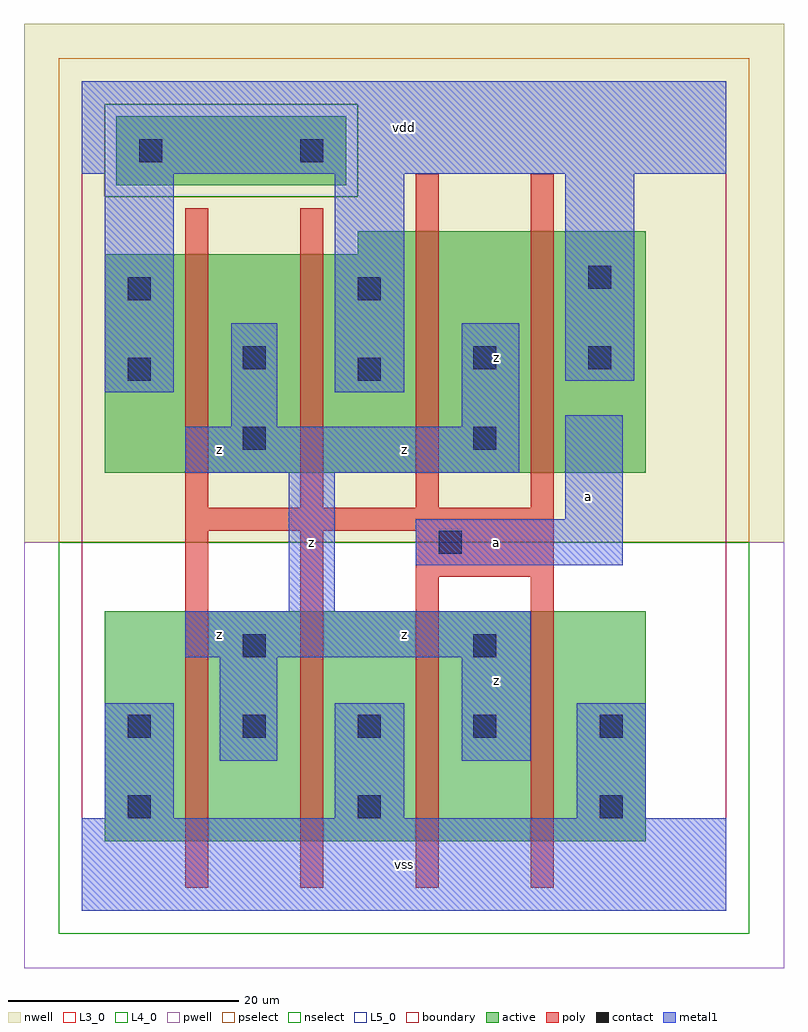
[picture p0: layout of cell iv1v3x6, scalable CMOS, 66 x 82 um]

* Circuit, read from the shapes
.subckt iv1v3x6 a vdd vss z
M1 z a vss VSUBS nfet w=20u l=2u m=4
M2 z a vdd vdd pfet w=19u l=2u m=2
M3 z a vdd vdd pfet w=21u l=2u m=2
.ends

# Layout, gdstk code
import gdstk
lib = gdstk.Library(unit=1e-6, precision=1e-09)
def R(c, l, rs):  # rectangles x0, y0, x1, y1
    for r in rs: c.add(gdstk.rectangle(r[:2], r[2:], *l))
def A(c, l, x, y, w, h, nx, ny, dx, dy):  # array of equal rectangles
    R(c, l, [(x+i*dx, y+j*dy, x+i*dx+w, y+j*dy+h) for i in range(nx) for j in range(ny)])
L3_0 = (3, 0)
L4_0 = (4, 0)
L5_0 = (5, 0)
contact = (25, 0)
pwell = (41, 0)
nwell = (42, 0)
active = (43, 0)
pselect = (44, 0)
nselect = (45, 0)
poly = (46, 0)
metal1 = (49, 0)
boundary = (63, 0)

iv1v3x6 = lib.new_cell('iv1v3x6')
R(iv1v3x6, L3_0, [(2,6,49,26)])
R(iv1v3x6, L4_0, [(2,38,49,57), (24,57,49,59)])
R(iv1v3x6, L5_0, [(3,63,23,69)])
A(iv1v3x6, contact, 4, 15, 2, 2, 4, 1, 10, 0)
R(iv1v3x6, contact, [(4,8,6,10), (24,8,26,10), (45,8,47,10), (45,15,47,17), (14,22,16,24), (34,22,36,24), (31,31,33,33), (14,40,16,42), (34,40,36,42), (4,46,6,48), (24,46,26,48), (14,47,16,49), (34,47,36,49), (44,47,46,49), (4,53,6,55), (24,53,26,55), (44,54,46,56), (5,65,7,67), (19,65,21,67)])
R(iv1v3x6, pwell, [(-5,-5,61,32)])
R(iv1v3x6, nwell, [(-5,32,61,77)])
R(iv1v3x6, active, [(2,6,49,26), (2,38,49,57), (24,57,49,59), (3,63,23,69)])
R(iv1v3x6, pselect, [(-2,32,58,62), (-2,62,2,70), (24,62,58,70), (-2,70,58,74)])
R(iv1v3x6, nselect, [(-2,-2,58,32), (2,62,24,70)])
R(iv1v3x6, poly, [(9,2,11,33), (19,2,21,33), (29,2,31,29), (39,2,41,29), (29,29,41,33), (9,33,41,35), (9,35,11,61), (19,35,21,61), (29,35,31,64), (39,35,41,64)])
R(iv1v3x6, metal1, [(0,0,56,8), (2,8,8,18), (22,8,28,18), (43,8,49,18), (12,13,17,22), (33,13,39,22), (9,22,39,26), (18,26,22,38), (29,30,47,34), (42,34,47,43), (9,38,38,42), (13,42,17,51), (33,42,38,51), (2,45,8,64), (22,45,28,64), (42,46,48,64), (0,64,56,72)])
R(iv1v3x6, boundary, [(0,0,56,72)])
iv1v3x6.add(gdstk.Label('z', (12,24), layer=49, texttype=0))
iv1v3x6.add(gdstk.Label('z', (20,32), layer=49, texttype=0))
iv1v3x6.add(gdstk.Label('z', (12,40), layer=49, texttype=0))
iv1v3x6.add(gdstk.Label('vss', (28,4), layer=49, texttype=0))
iv1v3x6.add(gdstk.Label('z', (36,20), layer=49, texttype=0))
iv1v3x6.add(gdstk.Label('z', (28,24), layer=49, texttype=0))
iv1v3x6.add(gdstk.Label('a', (36,32), layer=49, texttype=0))
iv1v3x6.add(gdstk.Label('z', (28,40), layer=49, texttype=0))
iv1v3x6.add(gdstk.Label('z', (36,48), layer=49, texttype=0))
iv1v3x6.add(gdstk.Label('vdd', (28,68), layer=49, texttype=0))
iv1v3x6.add(gdstk.Label('a', (44,36), layer=49, texttype=0))

lib.write_gds('iv1v3x6.gds')
